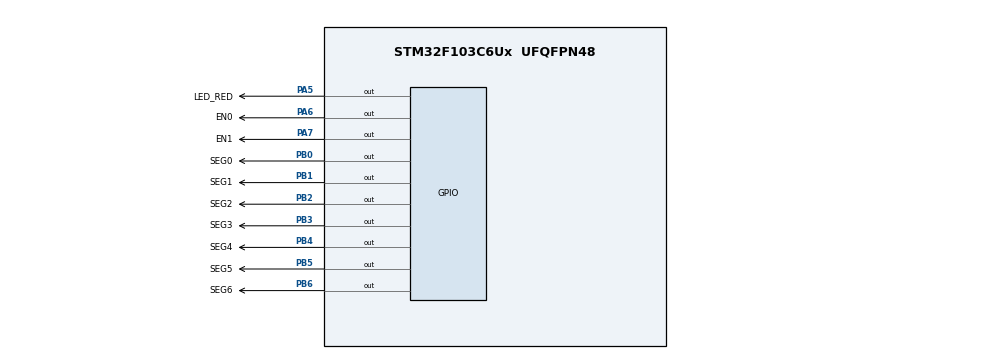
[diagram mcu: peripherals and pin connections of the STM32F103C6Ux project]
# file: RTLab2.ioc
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Mcu.Family=STM32F1
Mcu.Name=STM32F103C6Ux
Mcu.Package=UFQFPN48
NVIC.PriorityGroup=NVIC_PRIORITYGROUP_4
NVIC.TIM2_IRQn=true\:0\:0\:false\:false\:true\:true\:true
PA5.GPIO_Label=LED_RED
PA5.Signal=GPIO_Output
PA6.GPIO_Label=EN0
PA6.Signal=GPIO_Output
PA7.GPIO_Label=EN1
PA7.Signal=GPIO_Output
PB0.GPIO_Label=SEG0
PB0.Signal=GPIO_Output
PB1.GPIO_Label=SEG1
PB1.Signal=GPIO_Output
PB2.GPIO_Label=SEG2
PB2.Signal=GPIO_Output
PB3.GPIO_Label=SEG3
PB3.Signal=GPIO_Output
PB4.GPIO_Label=SEG4
PB4.Signal=GPIO_Output
PB5.GPIO_Label=SEG5
PB5.Signal=GPIO_Output
PB6.GPIO_Label=SEG6
PB6.Signal=GPIO_Output
ProjectManager.HeapSize=0x200
ProjectManager.StackSize=0x400
ProjectManager.TargetToolchain=STM32CubeIDE
RCC.APB1Freq_Value=8000000
RCC.APB2Freq_Value=8000000
TIM2.Period=1
TIM2.Prescaler=7999
VP_SYS_VS_ND.Mode=No_Debug
VP_TIM2_VS_ClockSourceINT.Mode=Internal
board=custom

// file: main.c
/* USER CODE BEGIN Header */
/**
  ******************************************************************************
  * @file           : main.c
  * @brief          : Main program body
  ******************************************************************************
  * @attention
  *
  * <h2><center>&copy; Copyright (c) 2024 STMicroelectronics.
  * All rights reserved.</center></h2>
  *
  * This software component is licensed by ST under BSD 3-Clause license,
  * the "License"; You may not use this file except in compliance with the
  * License. You may obtain a copy of the License at:
  *                        opensource.org/licenses/BSD-3-Clause
  *
  ******************************************************************************
  */
/* USER CODE END Header */
#include "main.h"

/* USER CODE BEGIN Includes */
#include "software_timer.h"
#define SEG0 GPIO_PIN_0
#define SEG1 GPIO_PIN_1
#define SEG2 GPIO_PIN_2
#define SEG3 GPIO_PIN_3
#define SEG4 GPIO_PIN_4
#define SEG5 GPIO_PIN_5
#define SEG6 GPIO_PIN_6

/* USER CODE END Includes */

TIM_HandleTypeDef htim2;

/* USER CODE BEGIN PV */
int status = 0;
volatile uint32_t time_elapsed = 0;
/* USER CODE END PV */

void SystemClock_Config(void);
static void MX_GPIO_Init(void);
static void MX_TIM2_Init(void);
/* USER CODE BEGIN PFP */
void clear7SEG()
{
	HAL_GPIO_WritePin(GPIOB, SEG0 | SEG1 | SEG2 | SEG3 | SEG4 | SEG5 | SEG6, GPIO_PIN_SET);
}
void display7SEG(int num)
{
	clear7SEG();

	switch (num)
	{
		case 0:
			HAL_GPIO_WritePin(GPIOB, SEG0 | SEG1 | SEG2 | SEG3 | SEG4 | SEG5, GPIO_PIN_RESET);
			break;
		case 1:
			HAL_GPIO_WritePin(GPIOB, SEG1 | SEG2 , GPIO_PIN_RESET);
			break;
		case 2:
			HAL_GPIO_WritePin(GPIOB, SEG0 | SEG1 | SEG3 | SEG4 | SEG6, GPIO_PIN_RESET);
			break;
		case 3:
			HAL_GPIO_WritePin(GPIOB, SEG0 | SEG1 | SEG2 | SEG3 | SEG6, GPIO_PIN_RESET);
			break;
		case 4:
			HAL_GPIO_WritePin(GPIOB, SEG1 | SEG2 | SEG5 | SEG6, GPIO_PIN_RESET);
			break;
		case 5:
			HAL_GPIO_WritePin(GPIOB, SEG0 | SEG2 | SEG3 | SEG5 | SEG6, GPIO_PIN_RESET);
			break;
		case 6:
			HAL_GPIO_WritePin(GPIOB, SEG0 | SEG2 | SEG3 | SEG4 | SEG5 | SEG6, GPIO_PIN_RESET);
			break;
		case 7:
			HAL_GPIO_WritePin(GPIOB, SEG0 | SEG1 | SEG2 , GPIO_PIN_RESET);
			break;
		case 8:
			HAL_GPIO_WritePin(GPIOB, SEG0 | SEG1 | SEG2 | SEG3 | SEG4 | SEG5 | SEG6, GPIO_PIN_RESET);
			break;
		case 9:
			HAL_GPIO_WritePin(GPIOB, SEG0 | SEG1 | SEG2 | SEG3 | SEG5 | SEG6, GPIO_PIN_RESET);
			break;
		case 10:
			HAL_GPIO_WritePin(GPIOB, SEG0 | SEG1 | SEG2 | SEG3 | SEG4 | SEG5 | SEG6, GPIO_PIN_SET);
			break;
	}
}
/* USER CODE END PFP */

int main(void)
{

  /* MCU Configuration--------------------------------------------------------*/

  /* Reset of all peripherals, Initializes the Flash interface and the Systick. */
  HAL_Init();

  /* Configure the system clock */
  SystemClock_Config();

  /* Initialize all configured peripherals */
  MX_GPIO_Init();
  MX_TIM2_Init();
  /* USER CODE BEGIN 2 */
  HAL_TIM_Base_Start_IT (& htim2 ) ;
  setTimer(0, 500);
  /* USER CODE END 2 */

  /* Infinite loop */
  while (1)
  {
	  if(isTimerExpired(0)){
	  		  switch(status){
	  		  	  case 0:
	  		  		  HAL_GPIO_WritePin(GPIOA, EN1_Pin, GPIO_PIN_SET);
	  		  		  HAL_GPIO_WritePin(GPIOA, EN0_Pin, GPIO_PIN_RESET);
	  		  		  display7SEG(1);
	  		  		  status = 1;
	  		  		  break;
	  		  	  case 1:
	  		  		  HAL_GPIO_WritePin(GPIOA, EN0_Pin, GPIO_PIN_SET);
	  		  		  HAL_GPIO_WritePin(GPIOA, EN1_Pin, GPIO_PIN_RESET);
	  		  		  display7SEG(2);
	  		  		  status = 0;
	  		  		  break;
	  		  }
	  		  setTimer(0, 500);
	  	  }
	 }
}

void SystemClock_Config(void)
{
  RCC_OscInitTypeDef RCC_OscInitStruct = {0};
  RCC_ClkInitTypeDef RCC_ClkInitStruct = {0};

  /** Initializes the RCC Oscillators according to the specified parameters
  * in the RCC_OscInitTypeDef structure.
  */
  RCC_OscInitStruct.OscillatorType = RCC_OSCILLATORTYPE_HSI;
  RCC_OscInitStruct.HSIState = RCC_HSI_ON;
  RCC_OscInitStruct.HSICalibrationValue = RCC_HSICALIBRATION_DEFAULT;
  RCC_OscInitStruct.PLL.PLLState = RCC_PLL_NONE;
  if (HAL_RCC_OscConfig(&RCC_OscInitStruct) != HAL_OK)
  {
    Error_Handler();
  }
  /** Initializes the CPU, AHB and APB buses clocks
  */
  RCC_ClkInitStruct.ClockType = RCC_CLOCKTYPE_HCLK|RCC_CLOCKTYPE_SYSCLK
                              |RCC_CLOCKTYPE_PCLK1|RCC_CLOCKTYPE_PCLK2;
  RCC_ClkInitStruct.SYSCLKSource = RCC_SYSCLKSOURCE_HSI;
  RCC_ClkInitStruct.AHBCLKDivider = RCC_SYSCLK_DIV1;
  RCC_ClkInitStruct.APB1CLKDivider = RCC_HCLK_DIV1;
  RCC_ClkInitStruct.APB2CLKDivider = RCC_HCLK_DIV1;

  if (HAL_RCC_ClockConfig(&RCC_ClkInitStruct, FLASH_LATENCY_0) != HAL_OK)
  {
    Error_Handler();
  }
}

static void MX_TIM2_Init(void)
{

  TIM_ClockConfigTypeDef sClockSourceConfig = {0};
  TIM_MasterConfigTypeDef sMasterConfig = {0};

  htim2.Instance = TIM2;
  htim2.Init.Prescaler = 7999;
  htim2.Init.CounterMode = TIM_COUNTERMODE_UP;
  htim2.Init.Period = 1;
  htim2.Init.ClockDivision = TIM_CLOCKDIVISION_DIV1;
  htim2.Init.AutoReloadPreload = TIM_AUTORELOAD_PRELOAD_DISABLE;
  if (HAL_TIM_Base_Init(&htim2) != HAL_OK)
  {
    Error_Handler();
  }
  sClockSourceConfig.ClockSource = TIM_CLOCKSOURCE_INTERNAL;
  if (HAL_TIM_ConfigClockSource(&htim2, &sClockSourceConfig) != HAL_OK)
  {
    Error_Handler();
  }
  sMasterConfig.MasterOutputTrigger = TIM_TRGO_RESET;
  sMasterConfig.MasterSlaveMode = TIM_MASTERSLAVEMODE_DISABLE;
  if (HAL_TIMEx_MasterConfigSynchronization(&htim2, &sMasterConfig) != HAL_OK)
  {
    Error_Handler();
  }

}

static void MX_GPIO_Init(void)
{
  GPIO_InitTypeDef GPIO_InitStruct = {0};

  /* GPIO Ports Clock Enable */
  __HAL_RCC_GPIOA_CLK_ENABLE();
  __HAL_RCC_GPIOB_CLK_ENABLE();

  /*Configure GPIO pin Output Level */
  HAL_GPIO_WritePin(GPIOB, SEG0_Pin|SEG1_Pin|SEG2_Pin|SEG3_Pin
                          |SEG4_Pin|SEG5_Pin|SEG6_Pin, GPIO_PIN_RESET);

  /*Configure GPIO pins : LED_RED_Pin EN0_Pin EN1_Pin */
  GPIO_InitStruct.Pin = LED_RED_Pin|EN0_Pin|EN1_Pin;
  GPIO_InitStruct.Mode = GPIO_MODE_OUTPUT_PP;
  GPIO_InitStruct.Pull = GPIO_NOPULL;
  GPIO_InitStruct.Speed = GPIO_SPEED_FREQ_LOW;
  HAL_GPIO_Init(GPIOA, &GPIO_InitStruct);

  /*Configure GPIO pins : SEG0_Pin SEG1_Pin SEG2_Pin SEG3_Pin
                           SEG4_Pin SEG5_Pin SEG6_Pin */
  GPIO_InitStruct.Pin = SEG0_Pin|SEG1_Pin|SEG2_Pin|SEG3_Pin
                          |SEG4_Pin|SEG5_Pin|SEG6_Pin;
  GPIO_InitStruct.Mode = GPIO_MODE_OUTPUT_PP;
  GPIO_InitStruct.Pull = GPIO_NOPULL;
  GPIO_InitStruct.Speed = GPIO_SPEED_FREQ_LOW;
  HAL_GPIO_Init(GPIOB, &GPIO_InitStruct);

}

/* USER CODE BEGIN 4 */
	int counter = 100;
	void HAL_TIM_PeriodElapsedCallback ( TIM_HandleTypeDef * htim )
	{
		timerRun();
	}

/* USER CODE END 4 */

void Error_Handler(void)
{
  __disable_irq();
  while (1)
  {
  }
}

/************************ (C) COPYRIGHT STMicroelectronics *****END OF FILE****/
